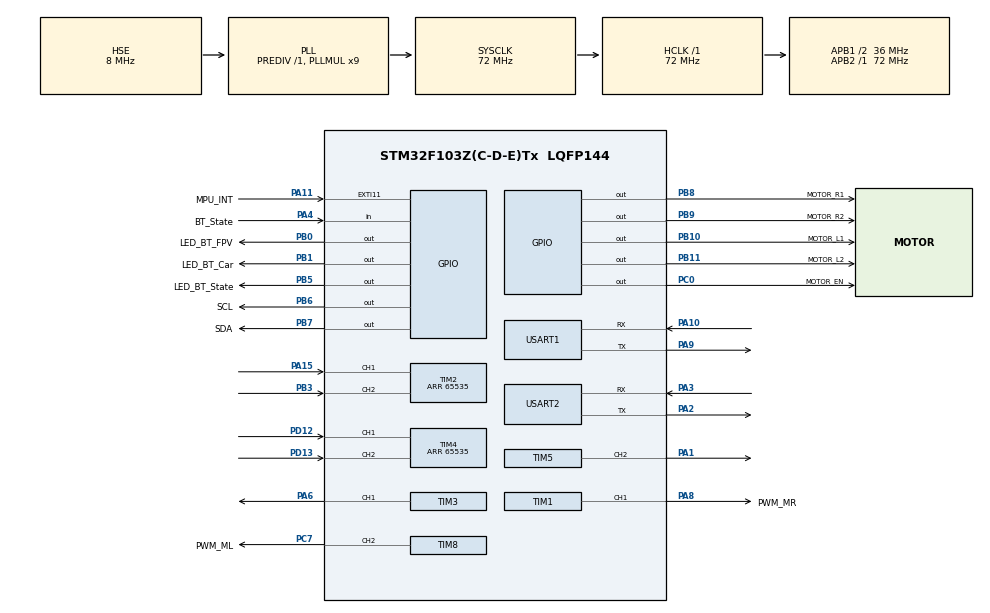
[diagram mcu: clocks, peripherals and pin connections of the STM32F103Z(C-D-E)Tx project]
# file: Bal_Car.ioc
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Mcu.Family=STM32F1
Mcu.Name=STM32F103Z(C-D-E)Tx
Mcu.Package=LQFP144
NVIC.EXTI15_10_IRQn=true\:1\:0\:true\:false\:true\:true\:true
NVIC.PriorityGroup=NVIC_PRIORITYGROUP_4
NVIC.USART2_IRQn=true\:0\:0\:false\:false\:true\:true\:true
OSC_IN.Mode=HSE-External-Oscillator
OSC_IN.Signal=RCC_OSC_IN
OSC_OUT.Mode=HSE-External-Oscillator
OSC_OUT.Signal=RCC_OSC_OUT
PA1.Signal=S_TIM5_CH2
PA10.Mode=Asynchronous
PA10.Signal=USART1_RX
PA11.GPIO_Label=MPU_INT
PA11.GPIO_PuPd=GPIO_PULLUP
PA11.Signal=GPXTI11
PA15.Signal=S_TIM2_CH1_ETR
PA2.Mode=Asynchronous
PA2.Signal=USART2_TX
PA3.Mode=Asynchronous
PA3.Signal=USART2_RX
PA4.GPIO_Label=BT_State
PA4.Signal=GPIO_Input
PA6.Signal=S_TIM3_CH1
PA8.GPIO_Label=PWM_MR
PA8.Signal=S_TIM1_CH1
PA9.Mode=Asynchronous
PA9.Signal=USART1_TX
PB0.GPIO_Label=LED_BT_FPV
PB0.GPIO_Speed=GPIO_SPEED_FREQ_HIGH
PB0.Signal=GPIO_Output
PB1.GPIO_Label=LED_BT_Car
PB1.GPIO_Speed=GPIO_SPEED_FREQ_HIGH
PB1.PinState=GPIO_PIN_SET
PB1.Signal=GPIO_Output
PB10.GPIO_Label=MOTOR_L1
PB10.Signal=GPIO_Output
PB11.GPIO_Label=MOTOR_L2
PB11.Signal=GPIO_Output
PB3.GPIO_PuPd=GPIO_PULLUP
PB3.Signal=S_TIM2_CH2
PB5.GPIO_Label=LED_BT_State
PB5.GPIO_Speed=GPIO_SPEED_FREQ_HIGH
PB5.Signal=GPIO_Output
PB6.GPIO_Label=SCL
PB6.GPIO_ModeDefaultOutputPP=GPIO_MODE_OUTPUT_OD
PB6.GPIO_PuPd=GPIO_NOPULL
PB6.PinState=GPIO_PIN_SET
PB6.Signal=GPIO_Output
PB7.GPIO_Label=SDA
PB7.GPIO_ModeDefaultOutputPP=GPIO_MODE_OUTPUT_OD
PB7.PinState=GPIO_PIN_SET
PB7.Signal=GPIO_Output
PB8.GPIO_Label=MOTOR_R1
PB8.Signal=GPIO_Output
PB9.GPIO_Label=MOTOR_R2
PB9.Signal=GPIO_Output
PC0.GPIO_Label=MOTOR_EN
PC0.Signal=GPIO_Output
PC7.GPIO_Label=PWM_ML
PC7.Signal=S_TIM8_CH2
PD12.Signal=S_TIM4_CH1
PD13.Signal=S_TIM4_CH2
ProjectManager.HeapSize=0x200
ProjectManager.StackSize=0x400
ProjectManager.TargetToolchain=MDK-ARM V5
RCC.AHBFreq_Value=72000000
RCC.APB1CLKDivider=RCC_HCLK_DIV2
RCC.APB1Freq_Value=36000000
RCC.APB1TimFreq_Value=72000000
RCC.APB2Freq_Value=72000000
RCC.APB2TimFreq_Value=72000000
RCC.HCLKFreq_Value=72000000
RCC.PLLMUL=RCC_PLL_MUL9
RCC.PLLSourceVirtual=RCC_PLLSOURCE_HSE
RCC.SYSCLKFreq_VALUE=72000000
RCC.SYSCLKSource=RCC_SYSCLKSOURCE_PLLCLK
RCC.USBFreq_Value=72000000
SH.S_TIM1_CH1.0=TIM1_CH1,PWM Generation1 CH1
SH.S_TIM2_CH1_ETR.0=TIM2_CH1,Encoder_Interface
SH.S_TIM2_CH2.0=TIM2_CH2,Encoder_Interface
SH.S_TIM3_CH1.0=TIM3_CH1,PWM Generation1 CH1
SH.S_TIM4_CH1.0=TIM4_CH1,Encoder_Interface
SH.S_TIM4_CH2.0=TIM4_CH2,Encoder_Interface
SH.S_TIM5_CH2.0=TIM5_CH2,PWM Generation2 CH2
SH.S_TIM8_CH2.0=TIM8_CH2,PWM Generation2 CH2
TIM1.AutoReloadPreload=TIM_AUTORELOAD_PRELOAD_ENABLE
TIM1.Channel-PWM\ Generation1\ CH1=TIM_CHANNEL_1
TIM1.Period=7199
TIM1.Prescaler=64-1
TIM2.EncoderMode=TIM_ENCODERMODE_TI12
TIM2.IC1Filter=10
TIM2.IC2Filter=10
TIM2.Period=65535
TIM3.AutoReloadPreload=TIM_AUTORELOAD_PRELOAD_ENABLE
TIM3.Channel-PWM\ Generation1\ CH1=TIM_CHANNEL_1
TIM3.Period=199
TIM3.Prescaler=7199
TIM4.EncoderMode=TIM_ENCODERMODE_TI12
TIM4.IC1Filter=10
TIM4.IC2Filter=10
TIM4.Period=65535
TIM5.AutoReloadPreload=TIM_AUTORELOAD_PRELOAD_ENABLE
TIM5.Channel-PWM\ Generation2\ CH2=TIM_CHANNEL_2
TIM5.Period=199
TIM5.Prescaler=7199
TIM8.AutoReloadPreload=TIM_AUTORELOAD_PRELOAD_ENABLE
TIM8.Channel-PWM\ Generation2\ CH2=TIM_CHANNEL_2
TIM8.Period=7199
TIM8.Prescaler=64-1
USART1.VirtualMode=VM_ASYNC
USART2.VirtualMode=VM_ASYNC
VP_SYS_VS_ND.Mode=No_Debug
VP_TIM1_VS_ClockSourceINT.Mode=Internal
VP_TIM3_VS_ClockSourceINT.Mode=Internal
VP_TIM5_VS_ClockSourceINT.Mode=Internal
VP_TIM8_VS_ClockSourceINT.Mode=Internal
board=custom

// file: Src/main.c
/* USER CODE BEGIN Header */
/**
  ******************************************************************************
  * @file           : main.c
  * @brief          : Main program body
  ******************************************************************************
  * @attention
  *
  * <h2><center>&copy; Copyright (c) 2020 STMicroelectronics.
  * All rights reserved.</center></h2>
  *
  * This software component is licensed by ST under BSD 3-Clause license,
  * the "License"; You may not use this file except in compliance with the
  * License. You may obtain a copy of the License at:
  *                        opensource.org/licenses/BSD-3-Clause
  *
  ******************************************************************************
  */
/* USER CODE END Header */

#include "main.h"
#include "tim.h"
#include "usart.h"
#include "gpio.h"

/* USER CODE BEGIN Includes */
#include <stdio.h>
#include "mpu6050.h"
#include "mpu_dmp_useapi.h"
#include "control.h"
#include "iic.h"
/* USER CODE END Includes */

/* USER CODE BEGIN PTD */
int fputc(int ch, FILE *f)  //
{
    uint8_t temp[1] = {ch};
    HAL_UART_Transmit(&huart1, temp, 1, 2);//huart1??????????
    return ch;
}
/* USER CODE END PTD */

/* USER CODE BEGIN PD */
uint8_t usart2_Re;
/* USER CODE END PD */

void SystemClock_Config(void);
/* USER CODE BEGIN PFP */
uint16_t Yaw_angle = 90, Pitch_angle = 90;
void YawAngle_Control(uint16_t angle)
{
   float temp;
   temp =(1.0 / 9.0) * angle + 5.0;
   __HAL_TIM_SET_COMPARE(&htim3, TIM_CHANNEL_1, (uint16_t )temp);
}
void PitchAngle_Control(uint16_t angle)
{
   float temp;
   temp =(1.0 / 9.0) * angle + 5.0;
   __HAL_TIM_SET_COMPARE(&htim5, TIM_CHANNEL_2, (uint16_t )temp);
}
extern int Yaw_FPV_L, Yaw_FPV_R, Pitch_FPV_U, Pitch_FPV_D;
void FPVAngle_Control()
{
    if(Yaw_FPV_L == 1){
        Yaw_angle++;HAL_Delay(3);
    }
    else if(Yaw_FPV_R == 1){
        Yaw_angle--;HAL_Delay(3);
    }
    else if(Pitch_FPV_U == 1){
        Pitch_angle--;HAL_Delay(3);
    }
    else if(Pitch_FPV_D == 1){
        Pitch_angle++;HAL_Delay(3);
    }
    else{}

    if(Yaw_angle >= 179)Yaw_angle = 179;
    if(Yaw_angle <= 1)Yaw_angle = 1;
    if(Pitch_angle >= 179)Pitch_angle = 179;
    if(Pitch_angle <= 1)Pitch_angle = 1;

    YawAngle_Control(Yaw_angle);
    PitchAngle_Control(Pitch_angle);
}
/* USER CODE END PFP */

int main(void)
{

  /* MCU Configuration--------------------------------------------------------*/

  /* Reset of all peripherals, Initializes the Flash interface and the Systick. */
  HAL_Init();

  /* Configure the system clock */
  SystemClock_Config();

  /* Initialize all configured peripherals */
  MX_GPIO_Init();
  MX_TIM1_Init();
  MX_TIM8_Init();
  MX_USART1_UART_Init();
  MX_TIM2_Init();
  MX_TIM4_Init();
  MX_TIM3_Init();
  MX_TIM5_Init();
  MX_USART2_UART_Init();
  /* USER CODE BEGIN 2 */
    HAL_GPIO_WritePin(MOTOR_EN_GPIO_Port,MOTOR_EN_Pin,GPIO_PIN_SET);    //enable motors

    HAL_GPIO_WritePin(LED_BT_Car_GPIO_Port, LED_BT_Car_Pin, GPIO_PIN_SET);          //turn off led
    HAL_GPIO_WritePin(LED_BT_FPV_GPIO_Port, LED_BT_FPV_Pin, GPIO_PIN_SET);
    HAL_GPIO_WritePin(LED_BT_State_GPIO_Port, LED_BT_State_Pin, GPIO_PIN_SET);

    HAL_TIM_PWM_Start(&htim1,TIM_CHANNEL_1);                            //enable pwm gpio
    __HAL_TIM_SET_COMPARE(&htim1,TIM_CHANNEL_1,10);
    HAL_TIM_PWM_Start(&htim8,TIM_CHANNEL_2);
    __HAL_TIM_SET_COMPARE(&htim8,TIM_CHANNEL_2,10);

    HAL_GPIO_WritePin(MOTOR_L1_GPIO_Port,MOTOR_L1_Pin,GPIO_PIN_RESET);  //turn off motors
    HAL_GPIO_WritePin(MOTOR_L2_GPIO_Port,MOTOR_L2_Pin,GPIO_PIN_RESET);
    HAL_GPIO_WritePin(MOTOR_R1_GPIO_Port,MOTOR_R1_Pin,GPIO_PIN_RESET);
    HAL_GPIO_WritePin(MOTOR_R2_GPIO_Port,MOTOR_R2_Pin,GPIO_PIN_RESET);

    HAL_TIM_Encoder_Start(&htim2,TIM_CHANNEL_ALL);                      //enable encoder
    HAL_TIM_Encoder_Start(&htim4,TIM_CHANNEL_ALL);

    HAL_TIM_PWM_Start(&htim3,TIM_CHANNEL_1);
    YawAngle_Control(5);
    HAL_TIM_PWM_Start(&htim5,TIM_CHANNEL_2);
    PitchAngle_Control(5);

    unsigned char RecID;
    I2C_ReadSomeDataFromSlave(MPU6050_SLAVE_ADDRESS, MPU6050_WHO_AM_I, 1, &RecID);
    printf("\r\n\tID = %d\r\n",RecID);
    mpu_dmp_init();
    EXTI_NVIC_init();

    printf("\r\nmpu init success!\r\n");

    HAL_UART_Receive_IT(&huart2, &usart2_Re, 1);
  /* USER CODE END 2 */

  /* Infinite loop */
  /* USER CODE BEGIN WHILE */
  while (1)
  {
      if(Yaw_FPV_L==1 || Yaw_FPV_R==1 || Pitch_FPV_U==1 || Pitch_FPV_D==1){
        FPVAngle_Control();
      }

      if(HAL_GPIO_ReadPin(BT_State_GPIO_Port, BT_State_Pin) == 1){
          HAL_GPIO_WritePin(LED_BT_State_GPIO_Port, LED_BT_State_Pin, 0);
      }
      else{
          HAL_GPIO_WritePin(LED_BT_State_GPIO_Port, LED_BT_State_Pin, 1);
      }
//      printf("\r\n\t%d\t%d\r\n", Yaw_angle, Pitch_angle);
    /* USER CODE END WHILE */

  }
}

void SystemClock_Config(void)
{
  RCC_OscInitTypeDef RCC_OscInitStruct = {0};
  RCC_ClkInitTypeDef RCC_ClkInitStruct = {0};

  /** Initializes the CPU, AHB and APB busses clocks
  */
  RCC_OscInitStruct.OscillatorType = RCC_OSCILLATORTYPE_HSE;
  RCC_OscInitStruct.HSEState = RCC_HSE_ON;
  RCC_OscInitStruct.HSEPredivValue = RCC_HSE_PREDIV_DIV1;
  RCC_OscInitStruct.HSIState = RCC_HSI_ON;
  RCC_OscInitStruct.PLL.PLLState = RCC_PLL_ON;
  RCC_OscInitStruct.PLL.PLLSource = RCC_PLLSOURCE_HSE;
  RCC_OscInitStruct.PLL.PLLMUL = RCC_PLL_MUL9;
  if (HAL_RCC_OscConfig(&RCC_OscInitStruct) != HAL_OK)
  {
    Error_Handler();
  }
  /** Initializes the CPU, AHB and APB busses clocks
  */
  RCC_ClkInitStruct.ClockType = RCC_CLOCKTYPE_HCLK|RCC_CLOCKTYPE_SYSCLK
                              |RCC_CLOCKTYPE_PCLK1|RCC_CLOCKTYPE_PCLK2;
  RCC_ClkInitStruct.SYSCLKSource = RCC_SYSCLKSOURCE_PLLCLK;
  RCC_ClkInitStruct.AHBCLKDivider = RCC_SYSCLK_DIV1;
  RCC_ClkInitStruct.APB1CLKDivider = RCC_HCLK_DIV2;
  RCC_ClkInitStruct.APB2CLKDivider = RCC_HCLK_DIV1;

  if (HAL_RCC_ClockConfig(&RCC_ClkInitStruct, FLASH_LATENCY_2) != HAL_OK)
  {
    Error_Handler();
  }
}

void Error_Handler(void)
{
}

/************************ (C) COPYRIGHT STMicroelectronics *****END OF FILE****/
